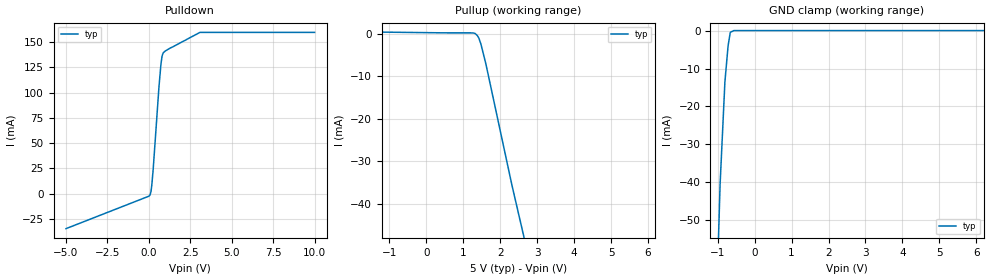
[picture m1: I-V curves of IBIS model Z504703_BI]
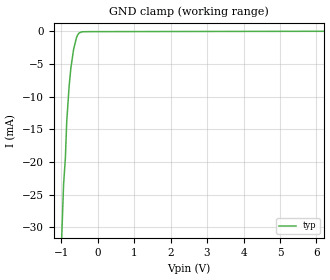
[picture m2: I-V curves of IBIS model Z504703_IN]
| YOU ARE ONLY AUTHORIZED TO USE THIS SOFTWARE
| ACCORDING TO LICENSOR'S LICENSE RESTRICTIONS.
[IBIS Ver] 3.1
[File Name] sn74ls623dw.ibs
[File Rev] 2.0
[Source] Measured and created by ICX Technology
[Date] Friday 7/14/00 9:08:20 AM
[Copyright]
| (C) COPYRIGHT 1993-2000
| MENTOR GRAPHICS CORPORATION
| ICX STANDARD LIBRARY, ICX PROJECT MODELING,
| ICX CUSTOM MODELING, ICX VENDOR MODEL
| ALL RIGHTS RESERVED.
| THE FOLLOWING ARE TRADEMARKS OR SERVICE MARKS OF
| MENTOR GRAPHICS CORPORATION:ICX (R), ICX STANDARD
| LIBRARY(R), ICX PROJECT MODELING(R), ICX CUSTOM
| MODELING(R), qualityIBIS(TM), MODELVIEWER(TM),
| AND MODELEDITOR(TM)
| ALL COPIES OF SOFTWARE, INCLUDING BUT NOT LIMITED TO
| ANY MODIFICATIONS, ENHANCEMENTS OR DERIVATIVE WORKS,
| MUST CONTAIN ALL MENTOR GRAPHICS CORPORATION'S
| NOTICES AND LEGENDS, INCLUDING THOSE EMBEDDED IN
| SOFTWARE AND THOSE AFFIXED TO SOFTWARE MEDIUM
| AND CONTAINER, AS RECEIVED FROM MENTOR GRAPHICS
| CORPORATION.
|  ZAP Model Builder 2.7
[Component] SN74LS623DW
[Manufacturer] OnSemiconductor
[Package]
| variable   typ   min   max
R_pkg  .178ohms NA NA
L_pkg  4.43nH NA NA
C_pkg  .62pF NA NA
[Pin] signal_name  model_name  R_pin  L_pin C_pin
1 GAB Z504703_IN .186 5.37n .68p
2 A0 Z504703_BI .182 4.89n .65p
3 A1 Z504703_BI .178 4.42n .62p
4 A2 Z504703_BI .174 3.96n .59p
5 A3 Z504703_BI .17 3.51n .56p
6 A4 Z504703_BI .17 3.51n .56p
7 A5 Z504703_BI .174 3.96n .59p
8 A6 Z504703_BI .178 4.42n .62p
9 A7 Z504703_BI .182 4.89n .65p
10 GND GND .186 5.37n .68p
11 B7 Z504703_BI .186 5.37n .68p
12 B6 Z504703_BI .182 4.89n .65p
13 B5 Z504703_BI .178 4.42n .62p
14 B4 Z504703_BI .174 3.96n .59p
15 B3 Z504703_BI .17 3.51n .56p
16 B2 Z504703_BI .17 3.51n .56p
17 B1 Z504703_BI .174 3.96n .59p
18 B0 Z504703_BI .178 4.42n .62p
19 _GBA Z504703_IN .182 4.89n .65p
20 VCC POWER .186 5.37n .68p
| Models and submodels in the file (2): Z504703_BI (I/O), Z504703_IN (Input)
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| (C) COPYRIGHT 1993-2000
| MENTOR GRAPHICS CORPORATION
| ICX STANDARD LIBRARY, ICX PROJECT MODELING,
| ICX CUSTOM MODELING, ICX VENDOR MODEL
| ALL RIGHTS RESERVED.
| THE FOLLOWING ARE TRADEMARKS OR SERVICE MARKS OF
| MENTOR GRAPHICS CORPORATION:ICX (R), ICX STANDARD
| LIBRARY(R), ICX PROJECT MODELING(R), ICX CUSTOM
| MODELING(R), qualityIBIS(TM), MODELVIEWER(TM),
| AND MODELEDITOR(TM)
| ALL COPIES OF SOFTWARE, INCLUDING BUT NOT LIMITED TO
| ANY MODIFICATIONS, ENHANCEMENTS OR DERIVATIVE WORKS,
| MUST CONTAIN ALL MENTOR GRAPHICS CORPORATION'S
| NOTICES AND LEGENDS, INCLUDING THOSE EMBEDDED IN
| SOFTWARE AND THOSE AFFIXED TO SOFTWARE MEDIUM
| AND CONTAINER, AS RECEIVED FROM MENTOR GRAPHICS
| CORPORATION.
| Model Application Version 1.89 2/18/99.
[Model] Z504703_BI
Model_type I/O
Vinl=800.0mV
Vinh=2.000V
Vref=588.0mV
Rref=588.5ohms
Cref=45.00pF
Vmeas=1.300V
C_comp 8.000pF NA NA
| variable typ   min   max
[Voltage Range] 5.000V NA NA
[POWER Clamp Reference] 5.000V NA NA
[Pullup Reference] 5.000V NA NA
[Pulldown Reference] 0.000V NA NA
[GND Clamp Reference] 0.000V NA NA
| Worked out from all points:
|   slope of the pulldown table from 0 to 0.75 V, typ, clamps not added: 5.65 ohm
|   slope of the pullup table from 0 to 0.75 V, typ, clamps not added: 13.3 kohm
|   GND clamp passes 1 mA (typ) near -0.67 V on its own axis
[GND Clamp]
-5V       -1.841A    NA         NA
-1.053V   -79.2mA    NA         NA
-934.1mV  -40.53mA   NA         NA
-804.1mV  -13.52mA   NA         NA
-717.7mV  -3.991mA   NA         NA
-658.7mV  -478.8uA   NA         NA
-564.6mV  0A         NA         NA
10V       0A         NA         NA
[Pulldown]
-5V       -34.63mA   NA         NA
69.58mV   -1.429mA   NA         NA
130.1mV   2.098mA    NA         NA
180.7mV   8.65mA     NA         NA
263.2mV   24.16mA    NA         NA
611.6mV   105.7mA    NA         NA
727.6mV   127.6mA    NA         NA
796.5mV   135.9mA    NA         NA
839.8mV   138.3mA    NA         NA
991.4mV   141.2mA    NA         NA
3.086V    159.6mA    NA         NA
10V       159.6mA    NA         NA
[Pullup]
-5V       713.8uA    NA         NA
555.5mV   148.4uA    NA         NA
1.203V    148.4uA    NA         NA
1.279V    116.6uA    NA         NA
1.324V    -9.664uA   NA         NA
1.382V    -495.5uA   NA         NA
1.421V    -1.043mA   NA         NA
1.479V    -2.46mA    NA         NA
1.615V    -7.191mA   NA         NA
2.318V    -35.57mA   NA         NA
10V       -322.9mA   NA         NA
[POWER Clamp]
-5V       0A         NA         NA
10V       0A         NA         NA
[Ramp]
| variable typ min max
dV/dt_r 1.983/5.711n NA NA
dV/dt_f 1.983/1.694n NA NA
R_load = 500.0Ohms
| (C) COPYRIGHT 1993-2000
| MENTOR GRAPHICS CORPORATION
| ICX STANDARD LIBRARY, ICX PROJECT MODELING,
| ICX CUSTOM MODELING, ICX VENDOR MODEL
| ALL RIGHTS RESERVED.
| THE FOLLOWING ARE TRADEMARKS OR SERVICE MARKS OF
| MENTOR GRAPHICS CORPORATION:ICX (R), ICX STANDARD
| LIBRARY(R), ICX PROJECT MODELING(R), ICX CUSTOM
| MODELING(R), qualityIBIS(TM), MODELVIEWER(TM),
| AND MODELEDITOR(TM)
| ALL COPIES OF SOFTWARE, INCLUDING BUT NOT LIMITED TO
| ANY MODIFICATIONS, ENHANCEMENTS OR DERIVATIVE WORKS,
| MUST CONTAIN ALL MENTOR GRAPHICS CORPORATION'S
| NOTICES AND LEGENDS, INCLUDING THOSE EMBEDDED IN
| SOFTWARE AND THOSE AFFIXED TO SOFTWARE MEDIUM
| AND CONTAINER, AS RECEIVED FROM MENTOR GRAPHICS
| CORPORATION.
| Model Application Version 1.89 2/18/99.
[Model] Z504703_IN
Model_type Input
Vinl = 800.0mV
Vinh = 2.000V
C_comp 4.000pF NA NA
| variable typ   min   max
[Voltage Range] 5.000V NA NA
[GND Clamp Reference] 0.000V NA NA
[POWER Clamp Reference] 5.000V NA NA
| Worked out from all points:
|   GND clamp passes 1 mA (typ) near -0.58 V on its own axis
[GND Clamp]
-5V       -667.3mA   NA         NA
-932.1mV  -23.4mA    NA         NA
-883.7mV  -19.47mA   NA         NA
-847.3mV  -13.95mA   NA         NA
-781.2mV  -8.456mA   NA         NA
-732.4mV  -5.613mA   NA         NA
-658.6mV  -2.781mA   NA         NA
-579.2mV  -973.4uA   NA         NA
-545.2mV  -526uA     NA         NA
-503.1mV  -243.2uA   NA         NA
-428.5mV  -68.22uA   NA         NA
10V       39.53uA    NA         NA
[POWER Clamp]
-5V       0A         NA         NA
10V       0A         NA         NA
